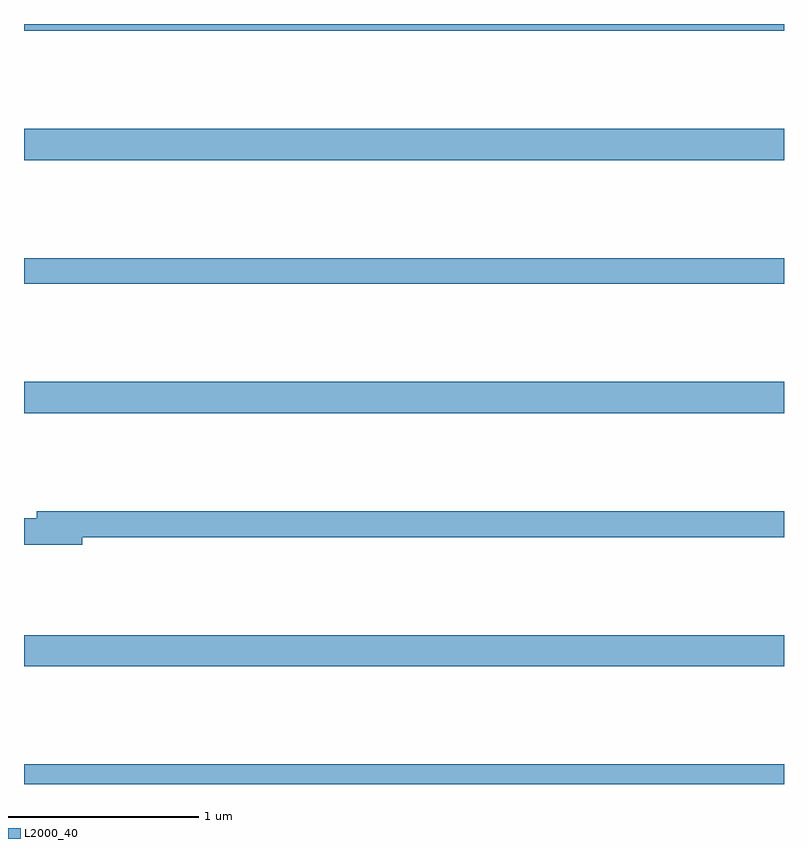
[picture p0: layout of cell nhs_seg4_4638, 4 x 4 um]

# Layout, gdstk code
import gdstk
lib = gdstk.Library(unit=1e-6, precision=1e-09)
def R(c, l, rs):  # rectangles x0, y0, x1, y1
    for r in rs: c.add(gdstk.rectangle(r[:2], r[2:], *l))
def A(c, l, x, y, w, h, nx, ny, dx, dy):  # array of equal rectangles
    R(c, l, [(x+i*dx, y+j*dy, x+i*dx+w, y+j*dy+h) for i in range(nx) for j in range(ny)])
def P(c, l, *ps):  # polygons
    for p in ps: c.add(gdstk.Polygon(p, *l))
L2000_40 = (2000, 40)

nhs_seg4_4638 = lib.new_cell('nhs_seg4_4638')
A(nhs_seg4_4638, L2000_40, 361, 763.52, 4, 0.164, 1, 3, 0, 1.332)
R(nhs_seg4_4638, L2000_40, [(361,762.9,365,763.004), (361,765.532,365,765.668), (361,766.864,365,766.9)])
P(nhs_seg4_4638, L2000_40, [(361.306,764.2),(365,764.2),(365,764.336),(361.067,764.336),(361.067,764.3),(361,764.3),(361,764.158),(361.306,764.158)])

lib.write_gds('nhs_seg4_4638.gds')
